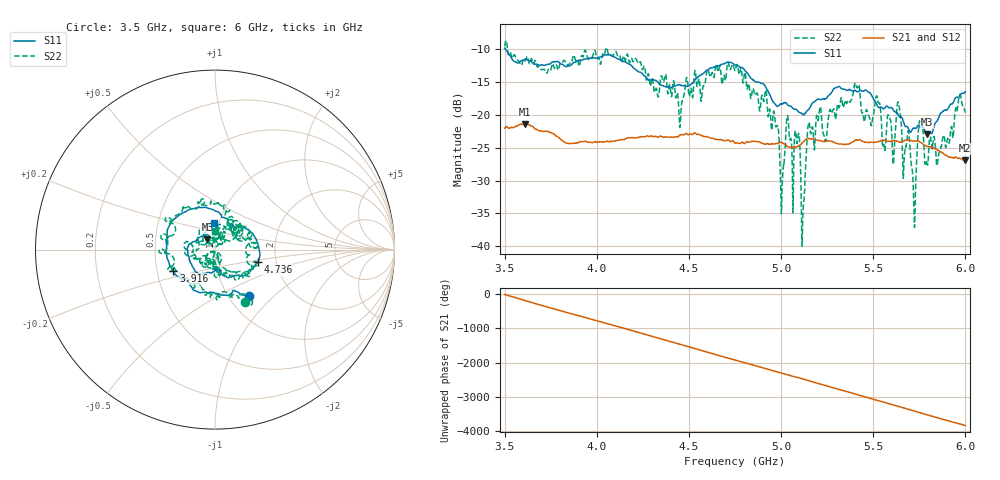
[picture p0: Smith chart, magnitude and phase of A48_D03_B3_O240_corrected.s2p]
! Created with skrf 1.9.0 (http://scikit-rf.org).
# Hz S RI R 50.0
!freq ReS11 ImS11 ReS21 ImS21 ReS12 ImS12 ReS22 ImS22
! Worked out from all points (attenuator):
!   1601 points, 3.5 GHz to 6 GHz, reference 50 ohm
!   highest |S21| = -21.38 dB at 3.611 GHz (marker M1); lowest = -26.9 dB at 5.997 GHz (marker M2)
!   lowest |S11| = -23.0 dB at 5.791 GHz (marker M3), VSWR 1.15, Z = 45.6 + j5.25 ohm
!   |S11| at or under -10 dB: 3.506 GHz to end of sweep
!   |S22| runs from -40.0 to -8.6 dB; largest |S21 - S12| = 0.00092
!   S11 on the Smith chart (normalised r, x): 3.5 GHz: 1.24, -0.72; 3.916 GHz: 0.61, -0.16; 4.736 GHz: 1.61, -0.23; 6 GHz: 0.94, +0.29
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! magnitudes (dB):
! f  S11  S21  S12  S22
! 3.5 GHz  -9.8  -22.0  -22.0  -9.5
! 3.611 GHz  -11.5  -21.4  -21.4  -11.8
! 3.916 GHz  -11.7  -24.1  -24.1  -11.1
! 3.917 GHz  -11.7  -24.1  -24.1  -11.0
! 4.334 GHz  -15.1  -23.4  -23.3  -17.2
! 4.736 GHz  -12.1  -23.9  -24.0  -12.3
! 4.75 GHz  -12.4  -24.3  -24.2  -13.3
! 4.969 GHz  -18.4  -24.4  -24.3  -21.3
! 5.005 GHz  -18.3  -24.2  -24.2  -32.1
! 5.034 GHz  -18.4  -24.8  -24.7  -20.1
! 5.088 GHz  -19.3  -24.9  -24.8  -24.3
! 5.119 GHz  -19.9  -24.2  -24.1  -34.9
! 5.167 GHz  -18.3  -23.7  -23.6  -22.0
! 5.409 GHz  -16.4  -23.8  -23.8  -15.7
! 5.584 GHz  -18.9  -24.0  -24.0  -20.1
! 5.611 GHz  -19.3  -23.9  -23.8  -27.1
! 5.639 GHz  -20.2  -24.1  -24.1  -18.4
! 5.72 GHz  -22.0  -24.0  -23.9  -33.7
! 5.755 GHz  -21.8  -24.2  -24.1  -21.0
! 5.791 GHz  -23.0  -24.8  -24.7  -27.3
! 5.997 GHz  -16.6  -26.9  -26.9  -19.4
! 6 GHz  -16.5  -26.9  -26.9  -19.6
